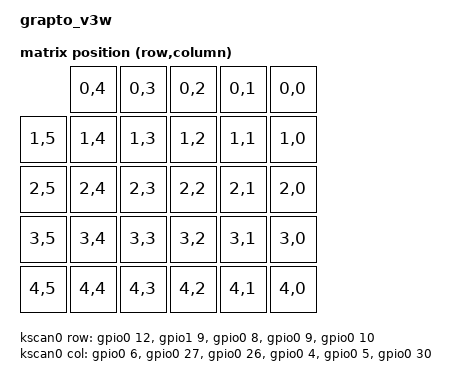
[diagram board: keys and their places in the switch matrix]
/*
 * Copyright (c) 2022 Herman Lundkvist
 *
 * SPDX-License-Identifier: MIT
 */

/dts-v1/;
#include <nordic/nrf52840_qiaa.dtsi>

#include <dt-bindings/zmk/matrix_transform.h>

/ {
	model = "grapto_v3w";
	compatible = "grapto_v3w";

	chosen {
		zephyr,code-partition = &code_partition;
		zephyr,sram = &sram0;
		zephyr,flash = &flash0;
		zephyr,console = &cdc_acm_uart;
		zmk,battery = &vbatt;
		zmk,kscan = &kscan0;
		zmk,matrix_transform = &default_transform;
	};

	default_transform: keymap_transform_0 {
		compatible = "zmk,matrix-transform";
		columns = <6>;
		rows = <5>;
		map = <
        RC(0,4) RC(0,3) RC(0,2) RC(0,1) RC(0,0)
RC(1,5) RC(1,4) RC(1,3) RC(1,2) RC(1,1) RC(1,0)
RC(2,5) RC(2,4) RC(2,3) RC(2,2) RC(2,1) RC(2,0)
RC(3,5) RC(3,4) RC(3,3) RC(3,2) RC(3,1) RC(3,0)
                RC(4,5) RC(4,4) RC(4,3) RC(4,2) RC(4,1) RC(4,0)
		>;
	};

	kscan0: kscan {
		compatible = "zmk,kscan-gpio-matrix";
		label = "KSCAN";

		diode-direction = "col2row";
		row-gpios
			= <&gpio0 12 (GPIO_ACTIVE_HIGH | GPIO_PULL_DOWN)>
			, <&gpio1 9 (GPIO_ACTIVE_HIGH | GPIO_PULL_DOWN)>
			, <&gpio0 8 (GPIO_ACTIVE_HIGH | GPIO_PULL_DOWN)>
			, <&gpio0 9 (GPIO_ACTIVE_HIGH | GPIO_PULL_DOWN)>
			, <&gpio0 10 (GPIO_ACTIVE_HIGH | GPIO_PULL_DOWN)>
			;
		col-gpios
			= <&gpio0 6 GPIO_ACTIVE_HIGH>
			, <&gpio0 27 GPIO_ACTIVE_HIGH>
			, <&gpio0 26 GPIO_ACTIVE_HIGH>
			, <&gpio0 4 GPIO_ACTIVE_HIGH>
			, <&gpio0 5 GPIO_ACTIVE_HIGH>
			, <&gpio0 30  GPIO_ACTIVE_HIGH>
			;
	};

	vbatt: vbatt {
		compatible = "zmk,battery-voltage-divider";
		label = "BATTERY";
		io-channels = <&adc 7>;
		output-ohms = <3000000>;
		full-ohms = <(3000000 + 2000000)>;
	};
};

&adc {
	status = "okay";
};

&gpiote {
	status = "okay";
};

&gpio0 {
	status = "okay";
};

&gpio1 {
	status = "okay";
};

&usbd {
	status = "okay";
	cdc_acm_uart: cdc_acm_uart {
		compatible = "zephyr,cdc-acm-uart";
		label = "CDC_ACM_0";
	};
};

&flash0 {
	/*
	 * For more information, see:
	 * http://docs.zephyrproject.org/latest/devices/dts/flash_partitions.html
	 */
	partitions {
		compatible = "fixed-partitions";
		#address-cells = <1>;
		#size-cells = <1>;

		sd_partition: partition@0 {
			label = "softdevice";
			reg = <0x00000000 0x00026000>;
		};
		code_partition: partition@26000 {
			label = "code_partition";
			reg = <0x00026000 0x000c6000>;
		};

		/*
		 * The flash starting at 0x000ec000 and ending at
		 * 0x000f3fff is reserved for use by the application.
		 */

		/*
		 * Storage partition will be used by FCB/LittleFS/NVS
		 * if enabled.
		 */
		storage_partition: partition@ec000 {
			label = "storage";
			reg = <0x000ec000 0x00008000>;
		};

		boot_partition: partition@f4000 {
			label = "adafruit_boot";
			reg = <0x000f4000 0x0000c000>;
		};
	};
};
